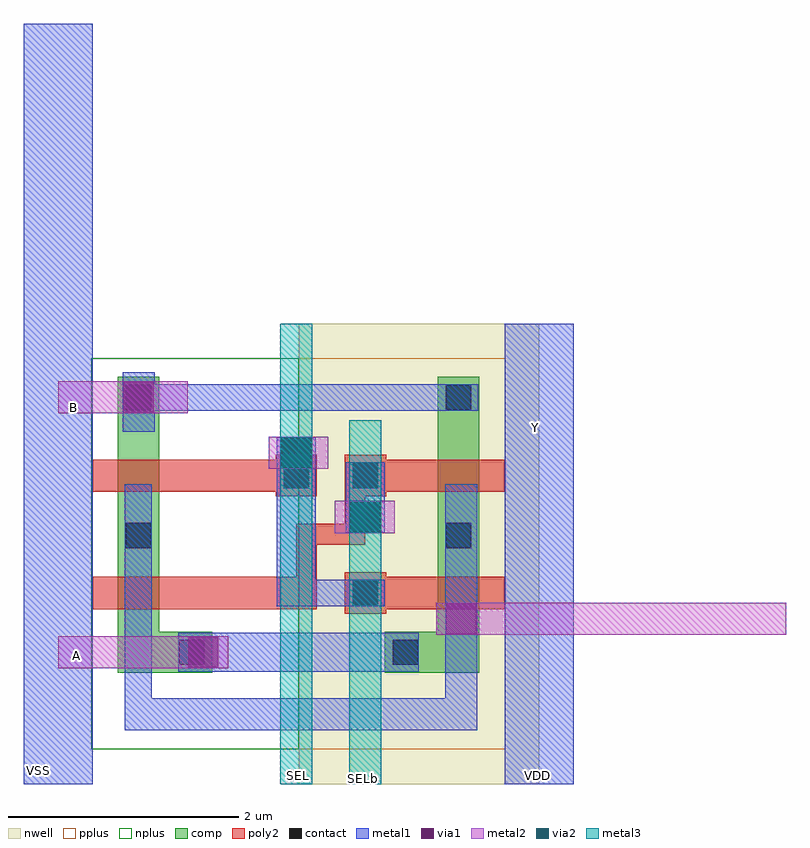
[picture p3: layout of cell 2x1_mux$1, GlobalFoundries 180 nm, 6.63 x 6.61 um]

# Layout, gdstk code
import gdstk
lib = gdstk.Library(unit=1e-6, precision=5e-09)
def R(c, l, rs):  # rectangles x0, y0, x1, y1
    for r in rs: c.add(gdstk.rectangle(r[:2], r[2:], *l))
nwell = (21, 0)
comp = (22, 0)
poly2 = (30, 0)
pplus = (31, 0)
nplus = (32, 0)
contact = (33, 0)
metal1 = (34, 0)
via1 = (35, 0)
metal2 = (36, 0)
via2 = (38, 0)
metal3 = (42, 0)

c_2x1_mux_1 = lib.new_cell('2x1_mux$1')
R(c_2x1_mux_1, nwell, [(-2.57,-2.84,-0.48,1.16)])
R(c_2x1_mux_1, comp, [(-4.14,-1.875,-3.78,0.7), (-3.78,-1.875,-3.32,-1.515), (-1.82,-1.875,-1.36,-1.515), (-1.36,-1.875,-1,0.7)])
R(c_2x1_mux_1, poly2, [(-2.17,-1.36,-1.81,-1), (-4.36,-1.32,-2.41,-1.04), (-1.81,-1.32,-0.78,-1.04), (-2.59,-1.04,-2.41,-0.76), (-2.59,-0.76,-1.99,-0.58), (-2.17,-0.58,-1.99,-0.34), (-2.77,-0.34,-2.41,0.02), (-2.17,-0.34,-1.81,0.02), (-4.36,-0.3,-2.77,-0.02), (-1.81,-0.3,-0.78,-0.02)])
R(c_2x1_mux_1, pplus, [(-2.57,-2.54,-0.77,0.86)])
R(c_2x1_mux_1, nplus, [(-4.37,-2.54,-2.57,0.86)])
R(c_2x1_mux_1, contact, [(-3.61,-1.805,-3.39,-1.585), (-1.75,-1.805,-1.53,-1.585), (-2.1,-1.29,-1.88,-1.07), (-4.07,-0.79,-3.85,-0.57), (-1.29,-0.79,-1.07,-0.57), (-2.7,-0.27,-2.48,-0.05), (-2.1,-0.27,-1.88,-0.05), (-4.07,0.41,-3.85,0.63), (-1.29,0.41,-1.07,0.63)])
R(c_2x1_mux_1, metal1, [(-4.96,-2.84,-4.36,3.765), (-0.78,-2.84,-0.18,1.16), (-4.08,-2.375,-3.845,-0.235), (-3.845,-2.375,-1.295,-2.095), (-1.295,-2.375,-1.015,-0.235), (-3.615,-1.865,-1.525,-1.525), (-2.76,-1.295,-1.82,-1.065), (-2.76,-1.065,-2.42,0.175), (-2.16,-0.655,-1.82,-0.045), (-4.1,0.22,-3.82,0.74), (-3.87,0.405,-1.01,0.635)])
R(c_2x1_mux_1, via1, [(-3.53,-1.825,-3.27,-1.565), (-1.285,-1.535,-1.025,-1.275), (-2.12,-0.65,-1.86,-0.39), (-2.72,-0.09,-2.46,0.17), (-4.09,0.39,-3.83,0.65)])
R(c_2x1_mux_1, metal2, [(-4.66,-1.835,-3.18,-1.555), (-1.375,-1.545,1.67,-1.265), (-2.255,-0.66,-1.735,-0.38), (-2.83,-0.1,-2.31,0.18), (-4.66,0.38,-3.535,0.66)])
R(c_2x1_mux_1, via2, [(-2.12,-0.65,-1.86,-0.39), (-2.72,-0.09,-2.46,0.17)])
R(c_2x1_mux_1, metal3, [(-2.73,-2.84,-2.45,1.16), (-2.13,-2.84,-1.85,0.32)])
c_2x1_mux_1.add(gdstk.Label('VSS', (-4.83,-2.72), layer=34, texttype=10))
c_2x1_mux_1.add(gdstk.Label('VDD', (-0.49,-2.77), layer=34, texttype=10))
c_2x1_mux_1.add(gdstk.Label('SELb', (-2.005,-2.79), layer=42, texttype=10))
c_2x1_mux_1.add(gdstk.Label('SEL', (-2.57,-2.765), layer=42, texttype=10))
c_2x1_mux_1.add(gdstk.Label('Y', (-0.515,0.26), layer=36, texttype=10))
c_2x1_mux_1.add(gdstk.Label('B', (-4.53,0.43), layer=36, texttype=10))
c_2x1_mux_1.add(gdstk.Label('A', (-4.5,-1.725), layer=36, texttype=10))

lib.write_gds('2x1_mux_1.gds')
